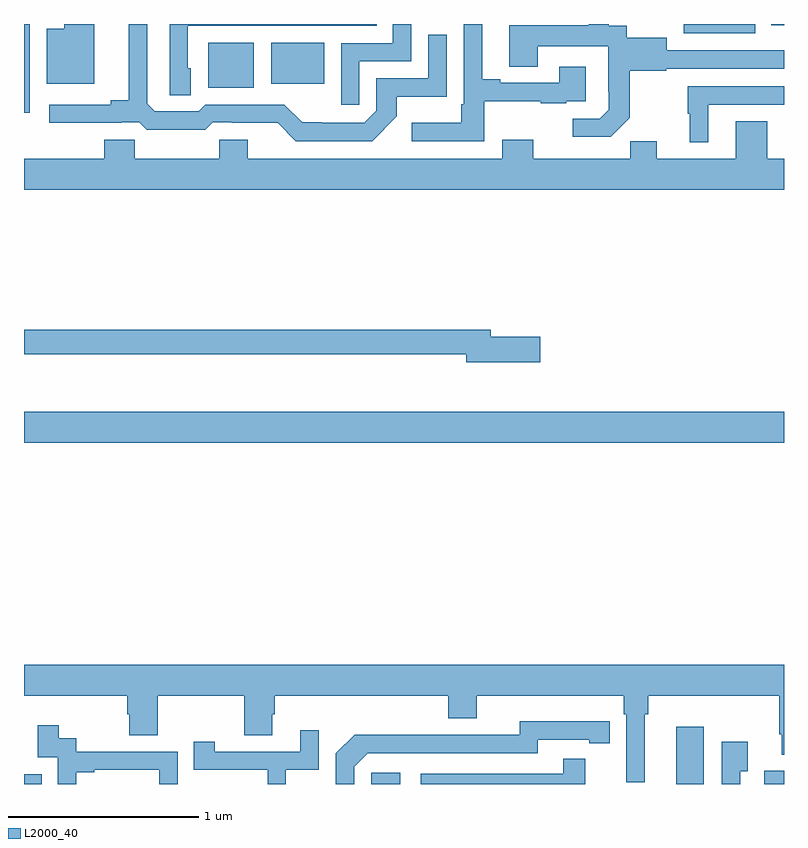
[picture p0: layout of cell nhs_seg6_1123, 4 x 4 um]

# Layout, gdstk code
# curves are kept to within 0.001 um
import gdstk
lib = gdstk.Library(unit=1e-6, precision=1e-09)
def R(c, l, rs):  # rectangles x0, y0, x1, y1
    for r in rs: c.add(gdstk.rectangle(r[:2], r[2:], *l))
def P(c, l, *ps):  # polygons
    for p in ps: c.add(gdstk.Polygon(p, *l))
L2000_40 = (2000, 40)

nhs_seg6_1123 = lib.new_cell('nhs_seg6_1123')
R(nhs_seg6_1123, L2000_40, [(179,985.5,179.093,985.551), (180.828,985.5,180.979,985.558), (182.432,985.5,182.578,985.801), (182.897,985.5,183,985.57), (179,987.296,183,987.46), (179,989.034,179.031,989.5), (179.969,989.165,180.208,989.401), (180.302,989.186,180.58,989.401), (182.472,989.451,182.849,989.5), (182.934,989.493,183,989.5)])
P(nhs_seg6_1123, L2000_40, [(179.371,989.5),(179.213,989.5),(179.213,989.476),(179.12,989.476),(179.12,989.186),(179.371,989.186)],
  [(180.765,989.304),(181.038,989.304),(181.038,989.5),(180.942,989.5),(180.942,989.4),(180.669,989.4),(180.669,989.076),(180.765,989.076)],
  [(182.187,989.007),(182.187,989.253),(182.379,989.253),(182.379,989.265),(183,989.265),(183,989.362),(182.383,989.361),(182.383,989.428),(182.172,989.428),(182.172,989.492),(182.077,989.492),(182.077,989.5),(181.973,989.5),(181.973,989.494),(181.553,989.494),(181.553,989.275),(181.705,989.275),(181.705,989.384),(182.076,989.384),(182.076,989.143),(182.078,989.143),(182.078,989.048),(182.031,989.001),(181.887,989.001),(181.887,988.907),(182.087,988.907)],
  [(179.878,989.268),(179.862,989.268),(179.862,989.49),(180.857,989.49),(180.857,989.5),(179.766,989.5),(179.766,989.125),(179.878,989.125)],
  [(180.963,989.015),(180.963,989.117),(181.224,989.117),(181.224,989.443),(181.128,989.443),(181.128,989.214),(180.855,989.214),(180.855,989.043),(180.792,988.98),(180.568,988.98),(180.568,988.982),(180.464,988.982),(180.369,989.076),(179.955,989.076),(179.919,989.04),(179.688,989.04),(179.649,989.079),(179.649,989.5),(179.552,989.5),(179.552,989.099),(179.456,989.099),(179.456,989.076),(179.133,989.076),(179.133,988.979),(179.513,988.979),(179.513,988.983),(179.607,988.983),(179.647,988.944),(179.955,988.944),(179.994,988.983),(180.094,988.983),(180.094,988.979),(180.335,988.979),(180.429,988.884),(180.832,988.884)],
  [(181.423,989.093),(181.721,989.093),(181.721,989.082),(181.853,989.082),(181.853,989.094),(181.957,989.094),(181.957,989.275),(181.817,989.275),(181.817,989.19),(181.507,989.19),(181.507,989.209),(181.411,989.209),(181.411,989.5),(181.314,989.5),(181.314,989.077),(181.302,989.077),(181.302,988.981),(181.041,988.981),(181.041,988.884),(181.423,988.884)],
  [(182.602,989.076),(183,989.076),(183,989.172),(182.493,989.172),(182.493,989.028),(182.504,989.028),(182.504,988.877),(182.602,988.877)],
  [(183,988.792),(182.911,988.792),(182.911,988.987),(182.747,988.987),(182.747,988.792),(182.329,988.792),(182.329,988.883),(182.191,988.883),(182.191,988.792),(181.681,988.792),(181.681,988.891),(181.517,988.891),(181.517,988.792),(180.178,988.792),(180.178,988.89),(180.028,988.89),(180.028,988.792),(179.583,988.792),(179.583,988.89),(179.423,988.89),(179.423,988.792),(179,988.792),(179,988.628),(183,988.628)],
  [(181.717,987.854),(181.456,987.854),(181.456,987.89),(179,987.89),(179,987.762),(181.328,987.762),(181.328,987.719),(181.717,987.719)],
  [(182.266,985.868),(182.285,985.868),(182.285,985.964),(182.975,985.964),(182.975,985.762),(182.987,985.762),(182.987,985.655),(183,985.655),(183,986.128),(179,986.128),(179,985.964),(179.543,985.964),(179.543,985.866),(179.555,985.866),(179.555,985.756),(179.703,985.756),(179.703,985.964),(180.16,985.964),(180.16,985.756),(180.307,985.756),(180.307,985.866),(180.32,985.866),(180.32,985.964),(181.232,985.964),(181.232,985.847),(181.384,985.847),(181.384,985.964),(182.156,985.964),(182.156,985.868),(182.169,985.868),(182.169,985.509),(182.266,985.509)],
  [(180.738,985.59),(180.81,985.662),(181.704,985.662),(181.704,985.734),(181.976,985.734),(181.976,985.714),(182.084,985.714),(182.084,985.83),(181.608,985.831),(181.608,985.758),(181.148,985.758),(181.148,985.76),(180.74,985.76),(180.642,985.662),(180.642,985.5),(180.738,985.5)],
  [(179.276,985.563),(179.371,985.563),(179.371,985.575),(179.712,985.575),(179.712,985.5),(179.808,985.5),(179.808,985.671),(179.274,985.671),(179.274,985.74),(179.182,985.74),(179.182,985.81),(179.073,985.81),(179.073,985.641),(179.178,985.641),(179.178,985.5),(179.276,985.5)],
  [(180.378,985.575),(180.552,985.575),(180.552,985.783),(180.455,985.783),(180.455,985.671),(180.004,985.671),(180.004,985.723),(179.893,985.723),(179.893,985.575),(180.282,985.575),(180.282,985.5),(180.378,985.5)],
  [(182.769,985.567),(182.809,985.567),(182.809,985.723),(182.673,985.723),(182.673,985.5),(182.769,985.5)],
  [(181.955,985.633),(181.837,985.633),(181.837,985.554),(181.089,985.554),(181.089,985.5),(181.955,985.5)])

lib.write_gds('nhs_seg6_1123.gds')
